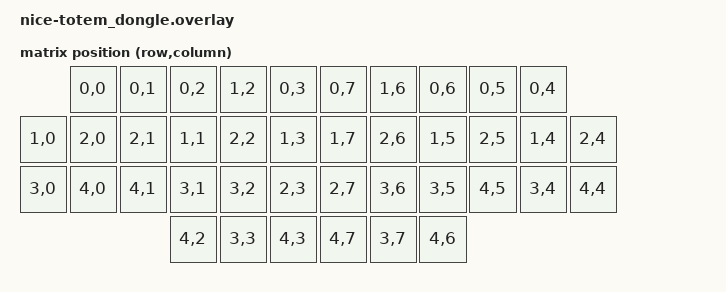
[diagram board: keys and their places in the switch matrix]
/*
 * Copyright (c) 2020 The ZMK Contributors
 *
 * SPDX-License-Identifier: MIT
 */

#include <dt-bindings/zmk/matrix_transform.h>

/ {
    chosen {
        zmk,kscan = &mock_kscan;
        zmk,matrix_transform = &default_transform;
    };

    mock_kscan: mock_kscan_0 {
        compatible = "zmk,kscan-mock";
        columns = <0>;
        rows = <0>;
        events = <0>;
    };

    default_transform: keymap_transform_0 {
         compatible = "zmk,matrix-transform";
         columns = <8>;
         rows = <5>;
 //             | SW01  | SW06  | SW11  | SW12  | SW16  |  | SW16  | SW12  | SW11  | SW06  | SW01  |
 //      | SW02 | SW03  | SW08  | SW07  | SW13  | SW17  |  | SW17  | SW13  | SW07  | SW08  | SW03  | SW02  |
 //      | SW04 | SW05  | SW10  | SW09  | SW14  | SW18  |  | SW18  | SW14  | SW09  | SW10  | SW05  | SW04  |
 //                             | SW15  | SW19  | SW20  |  | SW20  | SW19  | SW15  | 
         map = <
                 RC(0,0) RC(0,1) RC(0,2) RC(1,2) RC(0,3)    RC(0,7) RC(1,6) RC(0,6) RC(0,5) RC(0,4)
         RC(1,0) RC(2,0) RC(2,1) RC(1,1) RC(2,2) RC(1,3)    RC(1,7) RC(2,6) RC(1,5) RC(2,5) RC(1,4) RC(2,4)
         RC(3,0) RC(4,0) RC(4,1) RC(3,1) RC(3,2) RC(2,3)    RC(2,7) RC(3,6) RC(3,5) RC(4,5) RC(3,4) RC(4,4)
                                 RC(4,2) RC(3,3) RC(4,3)    RC(4,7) RC(3,7) RC(4,6)         
         >;
     };
};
